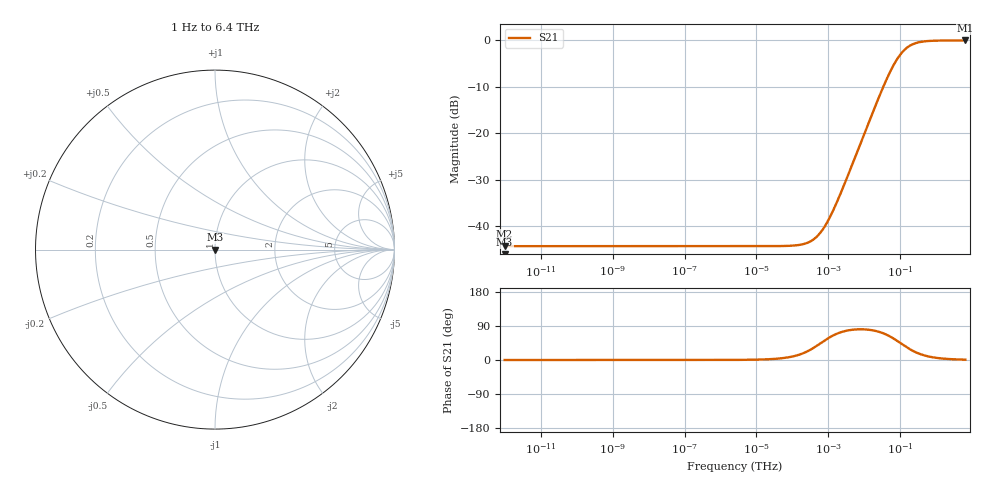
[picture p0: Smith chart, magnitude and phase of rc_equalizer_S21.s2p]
! RC peaking equalizer  S21(f) = (1 + jwR_eqC_eq)/(eta + jwR_eqC_eq)
! corrected H_eq per EYE_TOOL_SPEC sec 3.4  (eta=163.254, R_eq=10097.6 ohm, C_eq=2.57317e-14 F)
# Hz S RI R 50
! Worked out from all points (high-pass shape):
!   801 points, 1 Hz to 6.4 THz, reference 50 ohm
!   highest |S21| = 0.00 dB at 6.4 THz (marker M1); lowest = -44.3 dB at 1 Hz (marker M2)
!   |S21| within 3 dB of the highest: 100.2 GHz to end of sweep
!   lowest |S11| = - dB at 1 Hz (marker M3), VSWR 1.00, Z = 50 + j0 ohm
!   |S11| at or under -10 dB: start of sweep to end of sweep
!   S12 and S22 are empty: the file has one direction only
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1  0 0  0.00613 9.94e-12  0 0  0 0
1000  0 0  0.00613 9.94e-09  0 0  0 0
18897.26  0 0  0.00613 1.88e-07  0 0  0 0
2581740  0 0  0.00613 2.57e-05  0 0  0 0
1.046367e8  0 0  0.00613 0.00104  0 0  0 0
3.527167e8  0 0  0.00614 0.00351  0 0  0 0
6.384992e8  0 0  0.00617 0.00635  0 0  0 0
1.155832e9  0 0  0.00626 0.0115  0 0  0 0
2.342726e9  0 0  0.00667 0.0233  0 0  0 0
8.123372e9  0 0  0.0126 0.0802  0 0  0 0
1.429544e10  0 0  0.026 0.1392  0 0  0 0
2.377458e10  0 0  0.0593 0.2236  0 0  0 0
3.432912e10  0 0  0.1109 0.3052  0 0  0 0
4.818807e10  0 0  0.1934 0.3887  0 0  0 0
7.573708e10  0 0  0.3684 0.4783  0 0  0 0
1.124946e11  0 0  0.5613 0.4935  0 0  0 0
1.924508e11  0 0  0.7887 0.4066  0 0  0 0
3.200626e11  0 0  0.9116 0.2829  0 0  0 0
5.793878e11  0 0  0.9712 0.1666  0 0  0 0
1.078889e12  0 0  0.9915 0.0913  0 0  0 0
2.313927e12  0 0  0.9981 0.0429  0 0  0 0
6.4e12  0 0  0.9998 0.0155  0 0  0 0
